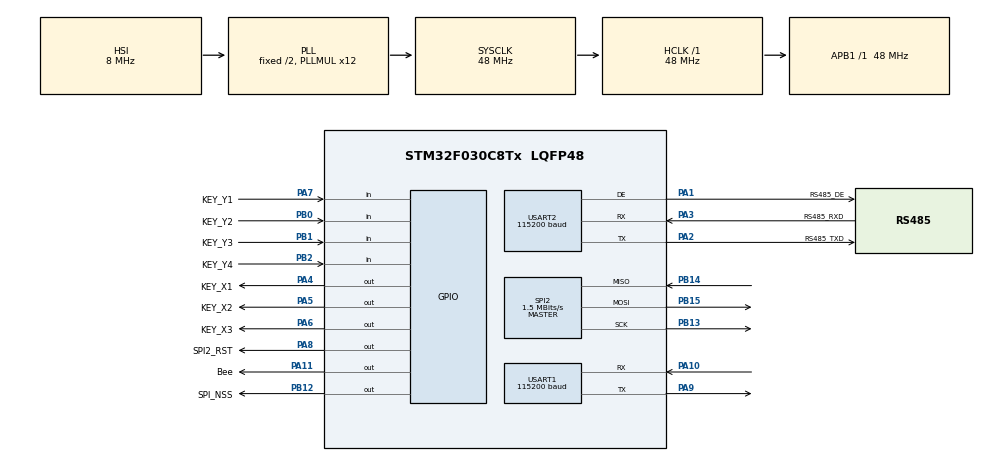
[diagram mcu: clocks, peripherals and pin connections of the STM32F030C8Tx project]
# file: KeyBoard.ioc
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FREERTOS.Queues01=Key_value,5,3,1,Dynamic,NULL,NULL
FREERTOS.Tasks01=RC522Task,-1,128,StartRC522Task,Default,NULL,Dynamic,NULL,NULL;RS485Task,-3,64,StartRS485Task,Default,NULL,Dynamic,NULL,NULL;KeyTask,-3,128,StartKeyTask,Default,NULL,Dynamic,NULL,NULL
FREERTOS.configMINIMAL_STACK_SIZE=64
Mcu.Family=STM32F0
Mcu.Name=STM32F030C8Tx
Mcu.Package=LQFP48
NVIC.TIM3_IRQn=true\:0\:0\:false\:false\:true\:false\:false
NVIC.TimeBase=TIM3_IRQn
NVIC.TimeBaseIP=TIM3
PA1.GPIO_Label=RS485_DE
PA1.Mode=Hardware Flow Control (RS485)
PA1.Signal=USART2_DE
PA10.Mode=Asynchronous
PA10.Signal=USART1_RX
PA11.GPIO_Label=Bee
PA11.Signal=GPIO_Output
PA13.Mode=Serial_Wire
PA13.Signal=SYS_SWDIO
PA14.Mode=Serial_Wire
PA14.Signal=SYS_SWCLK
PA2.GPIO_Label=RS485_TXD
PA2.Mode=Asynchronous
PA2.Signal=USART2_TX
PA3.GPIO_Label=RS485_RXD
PA3.Mode=Asynchronous
PA3.Signal=USART2_RX
PA4.GPIO_Label=KEY_X1
PA4.GPIO_PuPd=GPIO_NOPULL
PA4.GPIO_Speed=GPIO_SPEED_FREQ_HIGH
PA4.Signal=GPIO_Output
PA5.GPIO_Label=KEY_X2
PA5.GPIO_PuPd=GPIO_NOPULL
PA5.GPIO_Speed=GPIO_SPEED_FREQ_HIGH
PA5.Signal=GPIO_Output
PA6.GPIO_Label=KEY_X3
PA6.GPIO_PuPd=GPIO_NOPULL
PA6.GPIO_Speed=GPIO_SPEED_FREQ_HIGH
PA6.Signal=GPIO_Output
PA7.GPIO_Label=KEY_Y1
PA7.GPIO_PuPd=GPIO_PULLDOWN
PA7.Signal=GPIO_Input
PA8.GPIO_Label=SPI2_RST
PA8.Signal=GPIO_Output
PA9.Mode=Asynchronous
PA9.Signal=USART1_TX
PB0.GPIO_Label=KEY_Y2
PB0.GPIO_PuPd=GPIO_PULLDOWN
PB0.Signal=GPIO_Input
PB1.GPIO_Label=KEY_Y3
PB1.GPIO_PuPd=GPIO_PULLDOWN
PB1.Signal=GPIO_Input
PB12.GPIO_Label=SPI_NSS
PB12.Signal=GPIO_Output
PB13.Mode=Full_Duplex_Master
PB13.Signal=SPI2_SCK
PB14.Mode=Full_Duplex_Master
PB14.Signal=SPI2_MISO
PB15.Mode=Full_Duplex_Master
PB15.Signal=SPI2_MOSI
PB2.GPIO_Label=KEY_Y4
PB2.GPIO_PuPd=GPIO_PULLDOWN
PB2.Signal=GPIO_Input
ProjectManager.HeapSize=0x200
ProjectManager.StackSize=0x400
ProjectManager.TargetToolchain=MDK-ARM V5
RCC.AHBFreq_Value=48000000
RCC.APB1Freq_Value=48000000
RCC.APB1TimFreq_Value=48000000
RCC.HCLKFreq_Value=48000000
RCC.PLLMUL=RCC_PLL_MUL12
RCC.SYSCLKFreq_VALUE=48000000
RCC.SYSCLKSource=RCC_SYSCLKSOURCE_PLLCLK
SPI2.BaudRatePrescaler=SPI_BAUDRATEPRESCALER_32
SPI2.CalculateBaudRate=1.5 MBits/s
SPI2.DataSize=SPI_DATASIZE_8BIT
SPI2.Direction=SPI_DIRECTION_2LINES
SPI2.Mode=SPI_MODE_MASTER
SPI2.VirtualType=VM_MASTER
USART1.BaudRate=115200
USART1.VirtualMode-Asynchronous=VM_ASYNC
USART2.BaudRate=115200
USART2.VirtualMode-Asynchronous=VM_ASYNC
USART2.VirtualMode-Hardware\ Flow\ Control\ (RS485)=VM_ASYNC
VP_FREERTOS_VS_ENABLE.Mode=Enabled
VP_SYS_VS_tim3.Mode=TIM3
board=custom

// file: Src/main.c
/**
  ******************************************************************************
  * @file           : main.c
  * @brief          : Main program body
  ******************************************************************************
  * This notice applies to any and all portions of this file
  * that are not between comment pairs USER CODE BEGIN and
  * USER CODE END. Other portions of this file, whether
  * inserted by the user or by software development tools
  * are owned by their respective copyright owners.
  *
  * Copyright (c) 2018 STMicroelectronics International N.V.
  * All rights reserved.
  *
  * Redistribution and use in source and binary forms, with or without
  * modification, are permitted, provided that the following conditions are met:
  *
  * 1. Redistribution of source code must retain the above copyright notice,
  *    this list of conditions and the following disclaimer.
  * 2. Redistributions in binary form must reproduce the above copyright notice,
  *    this list of conditions and the following disclaimer in the documentation
  *    and/or other materials provided with the distribution.
  * 3. Neither the name of STMicroelectronics nor the names of other
  *    contributors to this software may be used to endorse or promote products
  *    derived from this software without specific written permission.
  * 4. This software, including modifications and/or derivative works of this
  *    software, must execute solely and exclusively on microcontroller or
  *    microprocessor devices manufactured by or for STMicroelectronics.
  * 5. Redistribution and use of this software other than as permitted under
  *    this license is void and will automatically terminate your rights under
  *    this license.
  *
  * THIS SOFTWARE IS PROVIDED BY STMICROELECTRONICS AND CONTRIBUTORS "AS IS"
  * AND ANY EXPRESS, IMPLIED OR STATUTORY WARRANTIES, INCLUDING, BUT NOT
  * LIMITED TO, THE IMPLIED WARRANTIES OF MERCHANTABILITY, FITNESS FOR A
  * PARTICULAR PURPOSE AND NON-INFRINGEMENT OF THIRD PARTY INTELLECTUAL PROPERTY
  * RIGHTS ARE DISCLAIMED TO THE FULLEST EXTENT PERMITTED BY LAW. IN NO EVENT
  * SHALL STMICROELECTRONICS OR CONTRIBUTORS BE LIABLE FOR ANY DIRECT, INDIRECT,
  * INCIDENTAL, SPECIAL, EXEMPLARY, OR CONSEQUENTIAL DAMAGES (INCLUDING, BUT NOT
  * LIMITED TO, PROCUREMENT OF SUBSTITUTE GOODS OR SERVICES; LOSS OF USE, DATA,
  * OR PROFITS; OR BUSINESS INTERRUPTION) HOWEVER CAUSED AND ON ANY THEORY OF
  * LIABILITY, WHETHER IN CONTRACT, STRICT LIABILITY, OR TORT (INCLUDING
  * NEGLIGENCE OR OTHERWISE) ARISING IN ANY WAY OUT OF THE USE OF THIS SOFTWARE,
  * EVEN IF ADVISED OF THE POSSIBILITY OF SUCH DAMAGE.
  *
  ******************************************************************************
  */
#include "main.h"
#include "stm32f0xx_hal.h"
#include "cmsis_os.h"
#include "spi.h"
#include "usart.h"
#include "gpio.h"

/* USER CODE BEGIN PV */
/* Private variables ---------------------------------------------------------*/

/* USER CODE END PV */

void SystemClock_Config(void);
void MX_FREERTOS_Init(void);

/* USER CODE BEGIN PFP */
/* Private function prototypes -----------------------------------------------*/

/* USER CODE END PFP */

int main(void)
{

  /* MCU Configuration----------------------------------------------------------*/

  /* Reset of all peripherals, Initializes the Flash interface and the Systick. */
  HAL_Init();

  /* Configure the system clock */
  SystemClock_Config();

  /* Initialize all configured peripherals */
  MX_GPIO_Init();
  MX_USART2_UART_Init();
  MX_SPI2_Init();
  MX_USART1_UART_Init();

  /* Call init function for freertos objects (in freertos.c) */
  MX_FREERTOS_Init();

  /* Start scheduler */
  osKernelStart();

  /* We should never get here as control is now taken by the scheduler */

  /* Infinite loop */
  while (1)
  {

  }

}

void SystemClock_Config(void)
{

  RCC_OscInitTypeDef RCC_OscInitStruct;
  RCC_ClkInitTypeDef RCC_ClkInitStruct;
  RCC_PeriphCLKInitTypeDef PeriphClkInit;

    /**Initializes the CPU, AHB and APB busses clocks
    */
  RCC_OscInitStruct.OscillatorType = RCC_OSCILLATORTYPE_HSI;
  RCC_OscInitStruct.HSIState = RCC_HSI_ON;
  RCC_OscInitStruct.HSICalibrationValue = 16;
  RCC_OscInitStruct.PLL.PLLState = RCC_PLL_ON;
  RCC_OscInitStruct.PLL.PLLSource = RCC_PLLSOURCE_HSI;
  RCC_OscInitStruct.PLL.PLLMUL = RCC_PLL_MUL12;
  RCC_OscInitStruct.PLL.PREDIV = RCC_PREDIV_DIV1;
  if (HAL_RCC_OscConfig(&RCC_OscInitStruct) != HAL_OK)
  {
    _Error_Handler(__FILE__, __LINE__);
  }

    /**Initializes the CPU, AHB and APB busses clocks
    */
  RCC_ClkInitStruct.ClockType = RCC_CLOCKTYPE_HCLK|RCC_CLOCKTYPE_SYSCLK
                              |RCC_CLOCKTYPE_PCLK1;
  RCC_ClkInitStruct.SYSCLKSource = RCC_SYSCLKSOURCE_PLLCLK;
  RCC_ClkInitStruct.AHBCLKDivider = RCC_SYSCLK_DIV1;
  RCC_ClkInitStruct.APB1CLKDivider = RCC_HCLK_DIV1;

  if (HAL_RCC_ClockConfig(&RCC_ClkInitStruct, FLASH_LATENCY_1) != HAL_OK)
  {
    _Error_Handler(__FILE__, __LINE__);
  }

  PeriphClkInit.PeriphClockSelection = RCC_PERIPHCLK_USART1;
  PeriphClkInit.Usart1ClockSelection = RCC_USART1CLKSOURCE_PCLK1;
  if (HAL_RCCEx_PeriphCLKConfig(&PeriphClkInit) != HAL_OK)
  {
    _Error_Handler(__FILE__, __LINE__);
  }

    /**Configure the Systick interrupt time
    */
  HAL_SYSTICK_Config(HAL_RCC_GetHCLKFreq()/1000);

    /**Configure the Systick
    */
  HAL_SYSTICK_CLKSourceConfig(SYSTICK_CLKSOURCE_HCLK);

  /* SysTick_IRQn interrupt configuration */
  HAL_NVIC_SetPriority(SysTick_IRQn, 3, 0);
}

void HAL_TIM_PeriodElapsedCallback(TIM_HandleTypeDef *htim)
{
  if (htim->Instance == TIM3) {
    HAL_IncTick();
  }
}

void _Error_Handler(char *file, int line)
{
  while(1)
  {
  }
}

/************************ (C) COPYRIGHT STMicroelectronics *****END OF FILE****/

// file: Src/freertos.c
/**
  ******************************************************************************
  * File Name          : freertos.c
  * Description        : Code for freertos applications
  ******************************************************************************
  * This notice applies to any and all portions of this file
  * that are not between comment pairs USER CODE BEGIN and
  * USER CODE END. Other portions of this file, whether
  * inserted by the user or by software development tools
  * are owned by their respective copyright owners.
  *
  * Copyright (c) 2018 STMicroelectronics International N.V.
  * All rights reserved.
  *
  * Redistribution and use in source and binary forms, with or without
  * modification, are permitted, provided that the following conditions are met:
  *
  * 1. Redistribution of source code must retain the above copyright notice,
  *    this list of conditions and the following disclaimer.
  * 2. Redistributions in binary form must reproduce the above copyright notice,
  *    this list of conditions and the following disclaimer in the documentation
  *    and/or other materials provided with the distribution.
  * 3. Neither the name of STMicroelectronics nor the names of other
  *    contributors to this software may be used to endorse or promote products
  *    derived from this software without specific written permission.
  * 4. This software, including modifications and/or derivative works of this
  *    software, must execute solely and exclusively on microcontroller or
  *    microprocessor devices manufactured by or for STMicroelectronics.
  * 5. Redistribution and use of this software other than as permitted under
  *    this license is void and will automatically terminate your rights under
  *    this license.
  *
  * THIS SOFTWARE IS PROVIDED BY STMICROELECTRONICS AND CONTRIBUTORS "AS IS"
  * AND ANY EXPRESS, IMPLIED OR STATUTORY WARRANTIES, INCLUDING, BUT NOT
  * LIMITED TO, THE IMPLIED WARRANTIES OF MERCHANTABILITY, FITNESS FOR A
  * PARTICULAR PURPOSE AND NON-INFRINGEMENT OF THIRD PARTY INTELLECTUAL PROPERTY
  * RIGHTS ARE DISCLAIMED TO THE FULLEST EXTENT PERMITTED BY LAW. IN NO EVENT
  * SHALL STMICROELECTRONICS OR CONTRIBUTORS BE LIABLE FOR ANY DIRECT, INDIRECT,
  * INCIDENTAL, SPECIAL, EXEMPLARY, OR CONSEQUENTIAL DAMAGES (INCLUDING, BUT NOT
  * LIMITED TO, PROCUREMENT OF SUBSTITUTE GOODS OR SERVICES; LOSS OF USE, DATA,
  * OR PROFITS; OR BUSINESS INTERRUPTION) HOWEVER CAUSED AND ON ANY THEORY OF
  * LIABILITY, WHETHER IN CONTRACT, STRICT LIABILITY, OR TORT (INCLUDING
  * NEGLIGENCE OR OTHERWISE) ARISING IN ANY WAY OUT OF THE USE OF THIS SOFTWARE,
  * EVEN IF ADVISED OF THE POSSIBILITY OF SUCH DAMAGE.
  *
  ******************************************************************************
  */

#include "FreeRTOS.h"
#include "task.h"
#include "cmsis_os.h"

/* USER CODE BEGIN Includes */
#include "myfunction.h"

/* USER CODE END Includes */

osThreadId RC522TaskHandle;
osThreadId RS485TaskHandle;
osThreadId KeyTaskHandle;
osMessageQId Key_valueHandle;

void StartRC522Task(void const * argument);
void StartRS485Task(void const * argument);
void StartKeyTask(void const * argument);

void MX_FREERTOS_Init(void); /* (MISRA C 2004 rule 8.1) */

/* Hook prototypes */

/* Init FreeRTOS */

void MX_FREERTOS_Init(void) {

  /* Create the thread(s) */
  /* definition and creation of RC522Task */
  osThreadDef(RC522Task, StartRC522Task, osPriorityBelowNormal, 0, 128);
  RC522TaskHandle = osThreadCreate(osThread(RC522Task), NULL);

  /* definition and creation of RS485Task */
  osThreadDef(RS485Task, StartRS485Task, osPriorityIdle, 0, 64);
  RS485TaskHandle = osThreadCreate(osThread(RS485Task), NULL);

  /* definition and creation of KeyTask */
  osThreadDef(KeyTask, StartKeyTask, osPriorityIdle, 0, 128);
  KeyTaskHandle = osThreadCreate(osThread(KeyTask), NULL);

  /* Create the queue(s) */
  /* definition and creation of Key_value */
/* what about the sizeof here??? cd native code */
  osMessageQDef(Key_value, 5, 3);
  Key_valueHandle = osMessageCreate(osMessageQ(Key_value), NULL);

}

/* StartRC522Task function */
void StartRC522Task(void const * argument)
{

  /* USER CODE BEGIN StartRC522Task */

	PcdReset();
	M500PcdConfigISOType ( 'A' );//设置工作方式

	char cStr [ 30 ];
  unsigned char ucArray_ID [ 4 ];  //先后存放IC卡的类型和UID(IC卡序列号)
	uint8_t ucStatusReturn;          //返回状态
  /* Infinite loop */
  for(;;)
  {
		printf("\r\nStartRC522Task");

		/*寻卡*/
		if ( ( ucStatusReturn = PcdRequest ( PICC_REQALL, ucArray_ID ) ) != MI_OK )
			 /*若失败再次寻卡*/
		{
      ucStatusReturn = PcdRequest ( PICC_REQALL, ucArray_ID );
		}
		if ( ucStatusReturn == MI_OK  )
		{
      /*防冲撞（当有多张卡进入读写器操作范围时，防冲突机制会从其中选择一张进行操作）*/
			if ( PcdAnticoll ( ucArray_ID ) == MI_OK )
			{
				sprintf ( cStr, "The Card ID is: %02X%02X%02X%02X", ucArray_ID [ 0 ], ucArray_ID [ 1 ], ucArray_ID [ 2 ], ucArray_ID [ 3 ] );
				printf ( "%s\r\n",cStr );
      }
		}
    osDelay(1000);
  }
  /* USER CODE END StartRC522Task */
}

/* StartRS485Task function */
void StartRS485Task(void const * argument)
{
  /* USER CODE BEGIN StartRS485Task */
  /* Infinite loop */
  for(;;)
  {
//		printf("\r\nStartRS485Task");
    osDelay(1000);
  }
  /* USER CODE END StartRS485Task */
}

/* StartKeyTask function */
void StartKeyTask(void const * argument)
{
  /* USER CODE BEGIN StartKeyTask */
	uint16_t key_value = 0;
	uint8_t err;
  /* Infinite loop */
  for(;;)
  {

		key_value = scan_key();
		if(key_value != 0)
		{
			osDelay(20);

			if( key_value == scan_key() )
			{

				if(Key_valueHandle != NULL)
				{
					while(key_value == scan_key())	//松手检测
					{
						osDelay(1);
					}
					err = xQueueSend(Key_valueHandle, &key_value, 10);
					printf("\r\nkey_value = 0x%04X",key_value);
					if(err == errQUEUE_FULL)
					{
						printf("\r\nerrQUEUE_FULL");
					}
				}

			}
		}
    osDelay(1);
  }
  /* USER CODE END StartKeyTask */
}

/************************ (C) COPYRIGHT STMicroelectronics *****END OF FILE****/
